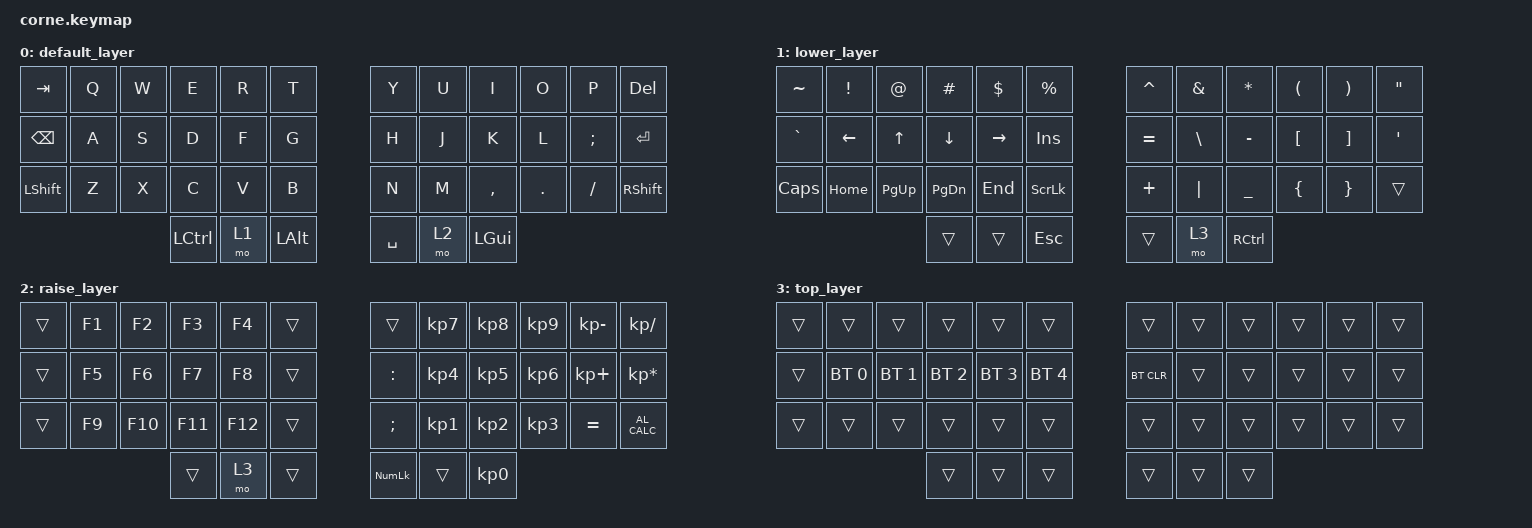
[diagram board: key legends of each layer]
/*
 * Copyright (c) 2020 The ZMK Contributors
 *
 * SPDX-License-Identifier: MIT
 */

#include <behaviors.dtsi>
#include <dt-bindings/zmk/keys.h>
#include <dt-bindings/zmk/bt.h>

/ {
        keymap {
                compatible = "zmk,keymap";

                default_layer {
// -----------------------------------------------------------------------------------------
// |  TAB |  Q  |  W  |  E  |  R  |  T  |   |  Y  |  U  |  I  |  O  |  P  | DEL  |
// | BKSP |  A  |  S  |  D  |  F  |  G  |   |  H  |  J  |  K  |  L  |  ;  | ENT  |
// | SHFT |  Z  |  X  |  C  |  V  |  B  |   |  N  |  M  |  ,  |  .  |  /  | SHFT |
//                   | CTRL | LWR | ALT |   | SPC | RSE | GUI |
                        bindings = <
   &kp TAB   &kp Q &kp W &kp E &kp R &kp T   &kp Y &kp U  &kp I     &kp O   &kp P    &kp DEL
   &kp BSPC  &kp A &kp S &kp D &kp F &kp G   &kp H &kp J  &kp K     &kp L   &kp SEMI &kp RET
   &kp LSHFT &kp Z &kp X &kp C &kp V &kp B   &kp N &kp M  &kp COMMA &kp DOT &kp FSLH &kp RSHFT
                  &kp LCTRL &mo 1 &kp LALT   &kp SPACE &mo 2 &kp LGUI
                        >;
                };
                lower_layer {
// -----------------------------------------------------------------------------------------
// |  ~   |  !   |  @   |  #     |   $   |  %   |   |  ^  |  &  |  *  |  (  |  )  |  "  |
// |  `   | LEFT |  UP  |  DOWN  | RIGHT | INS  |   |  =  |  \  |  -  |  [  |  ]  |  '  |
// | CAPS | HOME | PGUP | PGDOWN |  END  | SLCK |   |  +  | "|" |  _  |  {  |  }  |     |
//                            |     |     | ESC |   |     | TOP | CTRL |
                        bindings = <
   &kp TILDE &kp EXCL &kp AT    &kp HASH  &kp DLLR  &kp PRCNT   &kp CARET &kp AMPS &kp ASTRK &kp LPAR &kp RPAR &kp DQT
   &kp GRAVE &kp LEFT &kp UP    &kp DOWN  &kp RIGHT &kp INS     &kp EQUAL &kp BSLH &kp MINUS &kp LBKT &kp RBKT &kp SQT
   &kp CAPS  &kp HOME &kp PG_UP &kp PG_DN &kp END   &kp SLCK    &kp PLUS  &kp PIPE &kp UNDER &kp LBRC &kp RBRC &trans
                                   &trans &trans &kp ESC   &trans &mo 3 &kp RCTRL
                        >;
                };

                raise_layer {
// -----------------------------------------------------------------------------------------
// |     | F1  | F2  | F3  | F4  |    |   |     |  7  |  8  |  9  |  -  |  /  |
// |     | F5  | F6  | F7  | F8  |    |   |  :  |  4  |  5  |  6  |  +  |  *  |
// |     | F9  | F10 | F11 | F12 |    |   |  ;  |  1  |  2  |  3  |  =  | CALC |
//                   |     | TOP |    |   | NLCK |     |  0  |
                        bindings = <
   &trans &kp F1 &kp F2  &kp F3  &kp F4  &trans   &trans    &kp KP_N7 &kp KP_N8 &kp KP_N9 &kp KP_MINUS &kp KP_DIVIDE
   &trans &kp F5 &kp F6  &kp F7  &kp F8  &trans   &kp COLON &kp KP_N4 &kp KP_N5 &kp KP_N6 &kp KP_PLUS  &kp KP_MULTIPLY
   &trans &kp F9 &kp F10 &kp F11 &kp F12 &trans   &kp SEMI  &kp KP_N1 &kp KP_N2 &kp KP_N3 &kp EQUAL    &kp C_AL_CALC
                            &trans &mo 3 &trans   &kp KP_NLCK &trans &kp KP_N0
                        >;
                };

                top_layer {
// -----------------------------------------------------------------------------------------
// |    |     |     |     |     |     |   |        |    |     |     |     |     |
// |    | BT1 | BT2 | BT3 | BT4 | BT5 |   | BLTCLR |    |     |     |     |     |
// |    |     |     |     |     |     |   |        |    |     |     |     |     |
//                  |     |     |     |   |        |    |     |
                        bindings = <
   &trans &trans &trans &trans &trans &trans   &trans &trans &trans &trans &trans &trans
   &trans &bt BT_SEL 0 &bt BT_SEL 1 &bt BT_SEL 2 &bt BT_SEL 3 &bt BT_SEL 4   &bt BT_CLR &trans &trans &trans &trans &trans
   &trans &trans &trans &trans &trans &trans   &trans &trans &trans &trans &trans &trans
                        &trans &trans &trans   &trans &trans &trans
                        >;
                };
        };
};
